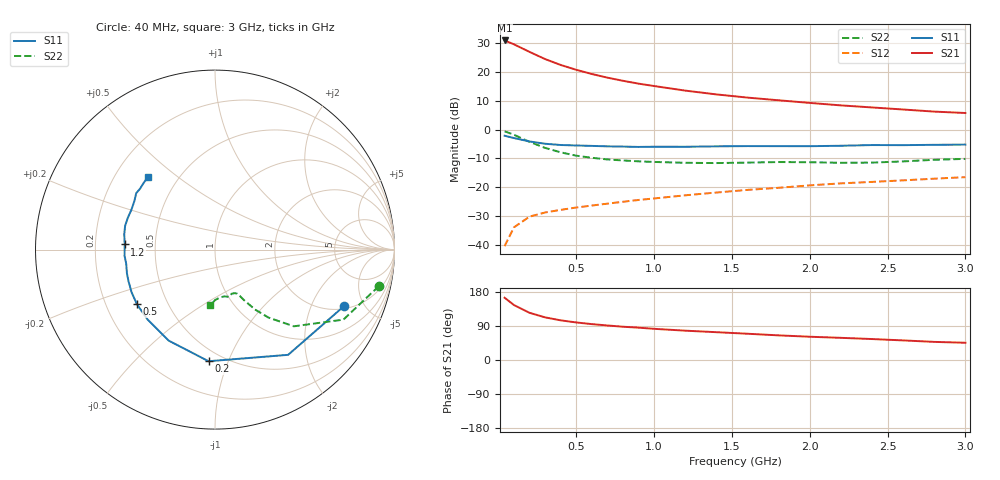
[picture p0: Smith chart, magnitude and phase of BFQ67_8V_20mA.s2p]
! Filename:  BFG67K.S2P  Version:  2.0
! Philips part #: BFG 67  Date: Jul 1990
! Bias condition: Vce=8V, Ic=20mA
! IN LINE PINNING: same data as with cross emitter pinning.
#  MHz  S  MA  R  50
! Freq  S11  S21  S12  S22  !GUM [dB]
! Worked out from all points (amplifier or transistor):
!   21 points, 40 MHz to 3 GHz, reference 50 ohm
!   highest |S21| = 30.9 dB at 40 MHz (marker M1)
!   |S21| within 3 dB of that: start of sweep to 163.2 MHz
!   unconditionally stable (mu >= 1): 1.022 GHz to end of sweep
!   at 300 MHz: K = 0.49, MSG = 26.6 dB, |S12| = -28.7 dB
!   at 1 GHz: K = 0.99, MSG = 19.5 dB, |S12| = -23.9 dB
!   at 3 GHz: K = 1.16, MAG = 8.7 dB, |S12| = -16.5 dB
!   S11 on the Smith chart (normalised r, x): 40 MHz: 2.14, -3.52; 200 MHz: 0.42, -0.85; 500 MHz: 0.33, -0.28; 1.2 GHz: 0.33, +0.03; 3 GHz: 0.34, +0.39
40  0.784 -23.8  35.16 164.3  0.00953 78.4  0.935 -12.6
100  0.714 -55.2  30.14 145.0  0.0202 65.0  0.815 -28.6
200  0.623 -93.3  22.27 124.5  0.031 52.6  0.613 -44.2
300  0.569 -117.0  16.72 112.5  0.0366 48.9  0.482 -51.8
400  0.541 -134.0  13.22 104.7  0.0406 48.4  0.404 -56.1
500  0.531 -145.0  10.9 99.1  0.0446 48.8  0.353 -58.5
600  0.522 -153.0  9.222 94.7  0.0483 50.2  0.325 -60.1
700  0.513 -160.0  7.965 91.1  0.052 51.8  0.304 -61.2
800  0.508 -165.0  7.023 87.8  0.0561 53.4  0.292 -61.9
900  0.501 -171.0  6.273 85.4  0.0603 54.6  0.282 -62.6
1000  0.505 -176.0  5.703 82.3  0.064 55.4  0.275 -63.3
1200  0.504 176.7  4.748 77.4  0.0726 57.8  0.266 -65.6
1400  0.513 170.3  4.08 73.4  0.0811 59.2  0.263 -69.1
1600  0.518 165.2  3.592 69.3  0.0901 59.8  0.268 -71.6
1800  0.517 160.1  3.226 65.0  0.098 60.6  0.274 -73.0
2000  0.516 154.4  2.905 61.4  0.108 61.6  0.272 -75.0
2200  0.525 148.7  2.632 58.5  0.117 61.1  0.266 -78.7
2400  0.54 144.4  2.424 55.3  0.124 61.5  0.268 -84.1
2600  0.538 141.1  2.233 51.7  0.132 62.2  0.281 -89.8
2800  0.545 136.4  2.053 47.8  0.141 62.3  0.3 -93.2
3000  0.55 132.7  1.941 45.5  0.15 59.9  0.311 -95.0
